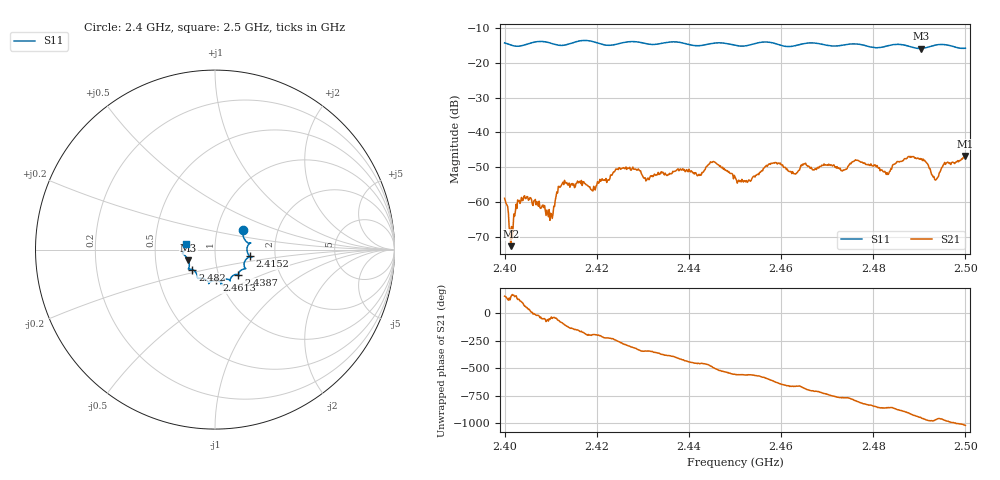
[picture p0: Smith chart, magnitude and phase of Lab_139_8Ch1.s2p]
# Hz S RI R 50
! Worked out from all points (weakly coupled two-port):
!   601 points, 2.4 GHz to 2.5 GHz, reference 50 ohm
!   highest |S21| = -46.72 dB at 2.5 GHz (marker M1); lowest = -72.6 dB at 2.4013 GHz (marker M2)
!   lowest |S11| = -15.9 dB at 2.4903 GHz (marker M3), VSWR 1.38, Z = 36.8 - j4.45 ohm
!   |S11| at or under -10 dB: start of sweep to end of sweep
!   S12 and S22 are empty: the file has one direction only
!   S11 on the Smith chart (normalised r, x): 2.4 GHz: 1.33, +0.31; 2.4152 GHz: 1.48, -0.11; 2.4387 GHz: 1.24, -0.36; 2.4613 GHz: 0.96, -0.34; 2.482 GHz: 0.76, -0.17; 2.5 GHz: 0.72, +0.05
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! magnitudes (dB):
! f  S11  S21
! 2.4 GHz  -14.3  -58.9
! 2.4013 GHz  -14.9  -72.6
! 2.4033 GHz  -15.2  -60.4
! 2.41 GHz  -14.4  -63.2
! 2.4122 GHz  -15.0  -55.5
! 2.4152 GHz  -14.1  -55.8
! 2.4167 GHz  -13.6  -53.8
! 2.4192 GHz  -13.9  -56.8
! 2.4253 GHz  -14.3  -50.4
! 2.4333 GHz  -14.6  -51.4
! 2.4387 GHz  -14.3  -50.4
! 2.4422 GHz  -15.1  -52.0
! 2.4452 GHz  -14.4  -48.4
! 2.45 GHz  -15.0  -52.8
! 2.4613 GHz  -15.3  -50.5
! 2.4667 GHz  -14.3  -50.3
! 2.4765 GHz  -14.6  -48.0
! 2.482 GHz  -15.5  -50.9
! 2.4833 GHz  -15.1  -51.9
! 2.4903 GHz  -15.9  -47.7
! 2.4935 GHz  -14.9  -53.7
! 2.5 GHz  -15.8  -46.7
